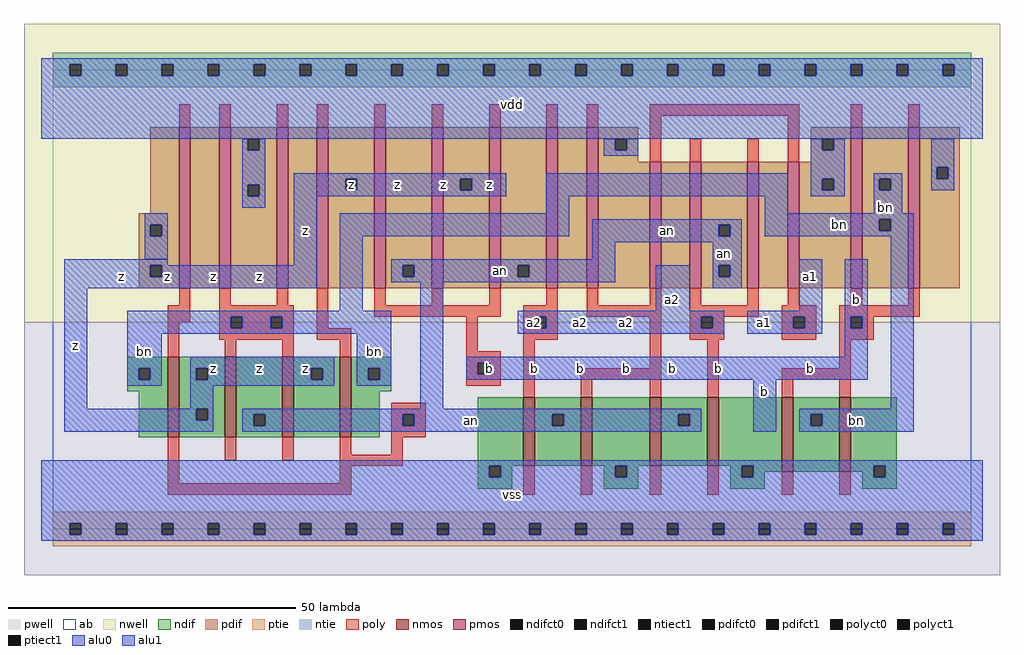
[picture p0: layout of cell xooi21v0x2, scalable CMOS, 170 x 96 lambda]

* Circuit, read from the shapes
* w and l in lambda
.subckt xooi21v0x2 a1 a2 an b bn vdd vss z
M1 z an bn vss nfet w=14 l=2 m=2
M2 an bn z vss nfet w=14 l=2 m=2
M3 an a2 vss vss nfet w=12 l=2 m=2
M4 vss a1 an vss nfet w=12 l=2 m=2
M5 bn b vss vss nfet w=13 l=2 m=2
M6 n1 an z vdd pfet w=28 l=2
M7 vdd bn n1 vdd pfet w=28 l=2
M8 n2 bn vdd vdd pfet w=28 l=2
M9 z an n2 vdd pfet w=28 l=2
M10 an b z vdd pfet w=28 l=2 m=3
M11 n3 a2 an vdd pfet w=28 l=2
M12 vdd a1 n3 vdd pfet w=28 l=2
M13 n4 a1 vdd vdd pfet w=22 l=2
M14 an a2 n4 vdd pfet w=22 l=2
M15 n5 a2 an vdd pfet w=22 l=2
M16 vdd a1 n5 vdd pfet w=22 l=2
M17 bn b vdd vdd pfet w=28 l=2 m=2
.ends

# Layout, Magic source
magic
tech scmos
<< ab >>
rect 0 0 160 80
<< nwell >>
rect -5 36 165 88
<< pwell >>
rect -5 -8 165 36
<< poly >>
rect 22 70 24 74
rect 29 70 31 74
rect 39 70 41 74
rect 46 70 48 74
rect 56 70 58 74
rect 66 70 68 74
rect 76 70 78 74
rect 86 70 88 74
rect 93 70 95 74
rect 104 72 130 74
rect 104 64 106 72
rect 111 64 113 68
rect 121 64 123 68
rect 128 64 130 72
rect 139 70 141 74
rect 149 70 151 74
rect 22 39 24 42
rect 20 36 24 39
rect 29 39 31 42
rect 39 39 41 42
rect 29 37 42 39
rect 20 30 22 36
rect 29 35 31 37
rect 33 35 38 37
rect 40 35 42 37
rect 29 33 42 35
rect 46 35 48 42
rect 56 39 58 42
rect 66 39 68 42
rect 76 39 78 42
rect 86 39 88 42
rect 56 37 78 39
rect 82 37 88 39
rect 93 39 95 42
rect 104 39 106 42
rect 93 37 106 39
rect 46 33 52 35
rect 30 30 32 33
rect 40 30 42 33
rect 50 30 52 33
rect 72 31 74 37
rect 82 35 84 37
rect 86 35 88 37
rect 82 33 88 35
rect 72 29 78 31
rect 72 27 74 29
rect 76 27 78 29
rect 72 25 78 27
rect 82 23 84 33
rect 104 28 106 37
rect 111 39 113 42
rect 121 39 123 42
rect 128 39 130 42
rect 139 39 141 42
rect 149 39 151 42
rect 111 37 123 39
rect 127 37 133 39
rect 111 35 113 37
rect 115 35 117 37
rect 111 33 117 35
rect 127 35 129 37
rect 131 35 133 37
rect 127 33 133 35
rect 137 37 151 39
rect 137 35 139 37
rect 141 35 143 37
rect 137 33 143 35
rect 92 26 106 28
rect 92 23 94 26
rect 104 23 106 26
rect 114 23 116 33
rect 137 28 139 33
rect 127 26 139 28
rect 127 23 129 26
rect 137 23 139 26
rect 59 20 65 22
rect 59 18 61 20
rect 63 18 65 20
rect 59 16 65 18
rect 20 8 22 16
rect 30 12 32 16
rect 40 12 42 16
rect 50 13 52 16
rect 59 13 61 16
rect 50 11 61 13
rect 50 8 52 11
rect 20 6 52 8
rect 82 6 84 11
rect 92 6 94 11
rect 104 6 106 11
rect 114 6 116 11
rect 127 6 129 10
rect 137 6 139 10
<< ndif >>
rect 13 28 20 30
rect 13 26 15 28
rect 17 26 20 28
rect 13 24 20 26
rect 15 16 20 24
rect 22 28 30 30
rect 22 26 25 28
rect 27 26 30 28
rect 22 21 30 26
rect 22 19 25 21
rect 27 19 30 21
rect 22 16 30 19
rect 32 20 40 30
rect 32 18 35 20
rect 37 18 40 20
rect 32 16 40 18
rect 42 28 50 30
rect 42 26 45 28
rect 47 26 50 28
rect 42 16 50 26
rect 52 28 59 30
rect 52 26 55 28
rect 57 26 59 28
rect 52 24 59 26
rect 52 16 57 24
rect 74 11 82 23
rect 84 20 92 23
rect 84 18 87 20
rect 89 18 92 20
rect 84 11 92 18
rect 94 11 104 23
rect 106 20 114 23
rect 106 18 109 20
rect 111 18 114 20
rect 106 11 114 18
rect 116 11 127 23
rect 74 9 76 11
rect 78 9 80 11
rect 74 7 80 9
rect 96 9 98 11
rect 100 9 102 11
rect 96 7 102 9
rect 118 9 120 11
rect 122 10 127 11
rect 129 20 137 23
rect 129 18 132 20
rect 134 18 137 20
rect 129 10 137 18
rect 139 11 147 23
rect 139 10 143 11
rect 122 9 124 10
rect 118 7 124 9
rect 141 9 143 10
rect 145 9 147 11
rect 141 7 147 9
<< pdif >>
rect 17 55 22 70
rect 15 53 22 55
rect 15 51 17 53
rect 19 51 22 53
rect 15 46 22 51
rect 15 44 17 46
rect 19 44 22 46
rect 15 42 22 44
rect 24 42 29 70
rect 31 68 39 70
rect 31 66 34 68
rect 36 66 39 68
rect 31 60 39 66
rect 31 58 34 60
rect 36 58 39 60
rect 31 42 39 58
rect 41 42 46 70
rect 48 61 56 70
rect 48 59 51 61
rect 53 59 56 61
rect 48 42 56 59
rect 58 46 66 70
rect 58 44 61 46
rect 63 44 66 46
rect 58 42 66 44
rect 68 61 76 70
rect 68 59 71 61
rect 73 59 76 61
rect 68 42 76 59
rect 78 46 86 70
rect 78 44 81 46
rect 83 44 86 46
rect 78 42 86 44
rect 88 42 93 70
rect 95 68 102 70
rect 95 66 98 68
rect 100 66 102 68
rect 95 64 102 66
rect 132 68 139 70
rect 132 66 134 68
rect 136 66 139 68
rect 132 64 139 66
rect 95 42 104 64
rect 106 42 111 64
rect 113 53 121 64
rect 113 51 116 53
rect 118 51 121 53
rect 113 46 121 51
rect 113 44 116 46
rect 118 44 121 46
rect 113 42 121 44
rect 123 42 128 64
rect 130 61 139 64
rect 130 59 134 61
rect 136 59 139 61
rect 130 42 139 59
rect 141 61 149 70
rect 141 59 144 61
rect 146 59 149 61
rect 141 54 149 59
rect 141 52 144 54
rect 146 52 149 54
rect 141 42 149 52
rect 151 63 158 70
rect 151 61 154 63
rect 156 61 158 63
rect 151 42 158 61
<< alu1 >>
rect -2 81 162 82
rect -2 79 3 81
rect 5 79 11 81
rect 13 79 19 81
rect 21 79 27 81
rect 29 79 35 81
rect 37 79 43 81
rect 45 79 51 81
rect 53 79 59 81
rect 61 79 67 81
rect 69 79 75 81
rect 77 79 83 81
rect 85 79 91 81
rect 93 79 99 81
rect 101 79 107 81
rect 109 79 115 81
rect 117 79 123 81
rect 125 79 131 81
rect 133 79 139 81
rect 141 79 147 81
rect 149 79 155 81
rect 157 79 162 81
rect -2 68 162 79
rect 42 61 79 62
rect 42 59 51 61
rect 53 59 71 61
rect 73 59 79 61
rect 42 58 79 59
rect 2 46 20 47
rect 42 46 46 58
rect 2 44 17 46
rect 19 44 46 46
rect 2 42 46 44
rect 2 21 6 42
rect 24 28 49 30
rect 24 26 25 28
rect 27 26 45 28
rect 47 26 49 28
rect 24 25 49 26
rect 24 21 28 25
rect 105 38 111 46
rect 130 38 134 47
rect 81 37 117 38
rect 81 35 84 37
rect 86 35 113 37
rect 115 35 117 37
rect 81 34 117 35
rect 121 37 134 38
rect 121 35 129 37
rect 131 35 134 37
rect 121 34 134 35
rect 138 37 142 47
rect 138 35 139 37
rect 141 35 142 37
rect 138 30 142 35
rect 72 29 142 30
rect 72 27 74 29
rect 76 27 142 29
rect 72 26 142 27
rect 2 19 25 21
rect 27 19 28 21
rect 2 17 28 19
rect 122 17 126 26
rect -2 11 162 12
rect -2 9 76 11
rect 78 9 98 11
rect 100 9 120 11
rect 122 9 143 11
rect 145 9 162 11
rect -2 1 162 9
rect -2 -1 3 1
rect 5 -1 11 1
rect 13 -1 19 1
rect 21 -1 27 1
rect 29 -1 35 1
rect 37 -1 43 1
rect 45 -1 51 1
rect 53 -1 59 1
rect 61 -1 67 1
rect 69 -1 75 1
rect 77 -1 83 1
rect 85 -1 91 1
rect 93 -1 99 1
rect 101 -1 107 1
rect 109 -1 115 1
rect 117 -1 123 1
rect 125 -1 131 1
rect 133 -1 139 1
rect 141 -1 147 1
rect 149 -1 155 1
rect 157 -1 162 1
rect -2 -2 162 -1
<< ptie >>
rect 0 1 160 3
rect 0 -1 3 1
rect 5 -1 11 1
rect 13 -1 19 1
rect 21 -1 27 1
rect 29 -1 35 1
rect 37 -1 43 1
rect 45 -1 51 1
rect 53 -1 59 1
rect 61 -1 67 1
rect 69 -1 75 1
rect 77 -1 83 1
rect 85 -1 91 1
rect 93 -1 99 1
rect 101 -1 107 1
rect 109 -1 115 1
rect 117 -1 123 1
rect 125 -1 131 1
rect 133 -1 139 1
rect 141 -1 147 1
rect 149 -1 155 1
rect 157 -1 160 1
rect 0 -3 160 -1
<< ntie >>
rect 0 81 160 83
rect 0 79 3 81
rect 5 79 11 81
rect 13 79 19 81
rect 21 79 27 81
rect 29 79 35 81
rect 37 79 43 81
rect 45 79 51 81
rect 53 79 59 81
rect 61 79 67 81
rect 69 79 75 81
rect 77 79 83 81
rect 85 79 91 81
rect 93 79 99 81
rect 101 79 107 81
rect 109 79 115 81
rect 117 79 123 81
rect 125 79 131 81
rect 133 79 139 81
rect 141 79 147 81
rect 149 79 155 81
rect 157 79 160 81
rect 0 77 160 79
<< nmos >>
rect 20 16 22 30
rect 30 16 32 30
rect 40 16 42 30
rect 50 16 52 30
rect 82 11 84 23
rect 92 11 94 23
rect 104 11 106 23
rect 114 11 116 23
rect 127 10 129 23
rect 137 10 139 23
<< pmos >>
rect 22 42 24 70
rect 29 42 31 70
rect 39 42 41 70
rect 46 42 48 70
rect 56 42 58 70
rect 66 42 68 70
rect 76 42 78 70
rect 86 42 88 70
rect 93 42 95 70
rect 104 42 106 64
rect 111 42 113 64
rect 121 42 123 64
rect 128 42 130 64
rect 139 42 141 70
rect 149 42 151 70
<< polyct0 >>
rect 31 35 33 37
rect 38 35 40 37
rect 61 18 63 20
<< polyct1 >>
rect 84 35 86 37
rect 74 27 76 29
rect 113 35 115 37
rect 129 35 131 37
rect 139 35 141 37
<< ndifct0 >>
rect 15 26 17 28
rect 35 18 37 20
rect 55 26 57 28
rect 87 18 89 20
rect 109 18 111 20
rect 132 18 134 20
<< ndifct1 >>
rect 25 26 27 28
rect 25 19 27 21
rect 45 26 47 28
rect 76 9 78 11
rect 98 9 100 11
rect 120 9 122 11
rect 143 9 145 11
<< ntiect1 >>
rect 3 79 5 81
rect 11 79 13 81
rect 19 79 21 81
rect 27 79 29 81
rect 35 79 37 81
rect 43 79 45 81
rect 51 79 53 81
rect 59 79 61 81
rect 67 79 69 81
rect 75 79 77 81
rect 83 79 85 81
rect 91 79 93 81
rect 99 79 101 81
rect 107 79 109 81
rect 115 79 117 81
rect 123 79 125 81
rect 131 79 133 81
rect 139 79 141 81
rect 147 79 149 81
rect 155 79 157 81
<< ptiect1 >>
rect 3 -1 5 1
rect 11 -1 13 1
rect 19 -1 21 1
rect 27 -1 29 1
rect 35 -1 37 1
rect 43 -1 45 1
rect 51 -1 53 1
rect 59 -1 61 1
rect 67 -1 69 1
rect 75 -1 77 1
rect 83 -1 85 1
rect 91 -1 93 1
rect 99 -1 101 1
rect 107 -1 109 1
rect 115 -1 117 1
rect 123 -1 125 1
rect 131 -1 133 1
rect 139 -1 141 1
rect 147 -1 149 1
rect 155 -1 157 1
<< pdifct0 >>
rect 17 51 19 53
rect 34 66 36 68
rect 34 58 36 60
rect 61 44 63 46
rect 81 44 83 46
rect 98 66 100 68
rect 134 66 136 68
rect 116 51 118 53
rect 116 44 118 46
rect 134 59 136 61
rect 144 59 146 61
rect 144 52 146 54
rect 154 61 156 63
<< pdifct1 >>
rect 17 44 19 46
rect 51 59 53 61
rect 71 59 73 61
<< alu0 >>
rect 33 66 34 68
rect 36 66 37 68
rect 33 60 37 66
rect 96 66 98 68
rect 100 66 102 68
rect 96 65 102 66
rect 132 66 134 68
rect 136 66 138 68
rect 33 58 34 60
rect 36 58 37 60
rect 33 56 37 58
rect 86 58 128 62
rect 132 61 138 66
rect 153 63 157 68
rect 132 59 134 61
rect 136 59 138 61
rect 132 58 138 59
rect 143 61 148 62
rect 143 59 144 61
rect 146 59 148 61
rect 153 61 154 63
rect 156 61 157 63
rect 153 59 157 61
rect 16 53 20 55
rect 16 51 17 53
rect 19 51 20 53
rect 16 47 20 51
rect 86 55 90 58
rect 50 51 90 55
rect 124 55 128 58
rect 143 55 148 59
rect 124 54 150 55
rect 94 53 120 54
rect 94 51 116 53
rect 118 51 120 53
rect 124 52 144 54
rect 146 52 150 54
rect 124 51 150 52
rect 50 38 54 51
rect 94 50 120 51
rect 94 47 98 50
rect 59 46 98 47
rect 115 46 120 50
rect 59 44 61 46
rect 63 44 81 46
rect 83 44 98 46
rect 59 43 98 44
rect 13 37 59 38
rect 13 35 31 37
rect 33 35 38 37
rect 40 35 59 37
rect 13 34 59 35
rect 13 28 19 34
rect 13 26 15 28
rect 17 26 19 28
rect 13 25 19 26
rect 53 28 59 34
rect 53 26 55 28
rect 57 26 59 28
rect 53 25 59 26
rect 64 21 68 43
rect 115 44 116 46
rect 118 44 120 46
rect 115 42 120 44
rect 33 20 113 21
rect 33 18 35 20
rect 37 18 61 20
rect 63 18 87 20
rect 89 18 109 20
rect 111 18 113 20
rect 33 17 113 18
rect 146 21 150 51
rect 130 20 150 21
rect 130 18 132 20
rect 134 18 150 20
rect 130 17 150 18
<< labels >>
rlabel alu0 16 31 16 31 6 bn
rlabel alu0 56 31 56 31 6 bn
rlabel alu0 73 19 73 19 6 an
rlabel alu0 78 45 78 45 6 an
rlabel alu0 117 48 117 48 6 an
rlabel alu0 107 52 107 52 6 an
rlabel alu0 140 19 140 19 6 bn
rlabel alu0 137 53 137 53 6 bn
rlabel alu0 145 56 145 56 6 bn
rlabel alu1 4 32 4 32 6 z
rlabel alu1 12 44 12 44 6 z
rlabel alu1 20 44 20 44 6 z
rlabel alu1 28 28 28 28 6 z
rlabel alu1 36 28 36 28 6 z
rlabel alu1 44 28 44 28 6 z
rlabel alu1 28 44 28 44 6 z
rlabel alu1 36 44 36 44 6 z
rlabel alu1 44 52 44 52 6 z
rlabel pdifct1 52 60 52 60 6 z
rlabel alu1 60 60 60 60 6 z
rlabel alu1 80 6 80 6 6 vss
rlabel alu1 76 28 76 28 6 b
rlabel alu1 84 28 84 28 6 b
rlabel alu1 92 28 92 28 6 b
rlabel alu1 84 36 84 36 6 a2
rlabel alu1 92 36 92 36 6 a2
rlabel alu1 68 60 68 60 6 z
rlabel alu1 76 60 76 60 6 z
rlabel alu1 80 74 80 74 6 vdd
rlabel alu1 100 28 100 28 6 b
rlabel alu1 108 28 108 28 6 b
rlabel alu1 116 28 116 28 6 b
rlabel alu1 124 24 124 24 6 b
rlabel alu1 100 36 100 36 6 a2
rlabel alu1 108 40 108 40 6 a2
rlabel alu1 124 36 124 36 6 a1
rlabel alu1 132 28 132 28 6 b
rlabel alu1 132 44 132 44 6 a1
rlabel alu1 140 40 140 40 6 b
<< end >>
